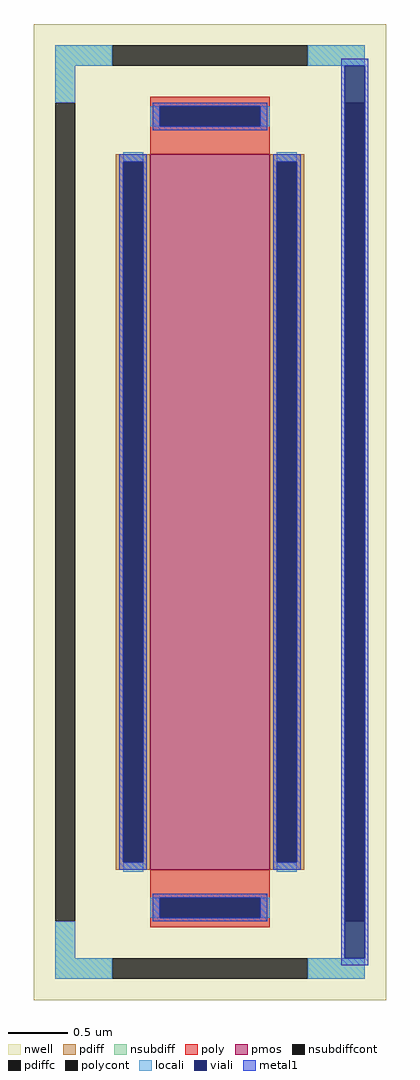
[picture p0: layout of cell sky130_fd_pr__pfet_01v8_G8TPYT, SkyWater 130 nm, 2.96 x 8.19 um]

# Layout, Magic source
magic
tech sky130A
magscale 1 2
<< nwell >>
rect -296 -819 296 819
<< pmos >>
rect -100 -600 100 600
<< pdiff >>
rect -158 588 -100 600
rect -158 -588 -146 588
rect -112 -588 -100 588
rect -158 -600 -100 -588
rect 100 588 158 600
rect 100 -588 112 588
rect 146 -588 158 588
rect 100 -600 158 -588
<< pdiffc >>
rect -146 -588 -112 588
rect 112 -588 146 588
<< nsubdiff >>
rect -260 749 -164 783
rect 164 749 260 783
rect -260 687 -226 749
rect 226 687 260 749
rect -260 -749 -226 -687
rect 226 -749 260 -687
rect -260 -783 -164 -749
rect 164 -783 260 -749
<< nsubdiffcont >>
rect -164 749 164 783
rect -260 -687 -226 687
rect 226 -687 260 687
rect -164 -783 164 -749
<< poly >>
rect -100 681 100 697
rect -100 647 -84 681
rect 84 647 100 681
rect -100 600 100 647
rect -100 -647 100 -600
rect -100 -681 -84 -647
rect 84 -681 100 -647
rect -100 -697 100 -681
<< polycont >>
rect -84 647 84 681
rect -84 -681 84 -647
<< locali >>
rect -260 749 -164 783
rect 164 749 260 783
rect -260 687 -226 749
rect -100 647 -84 681
rect 84 647 100 681
rect -146 588 -112 604
rect -146 -604 -112 -588
rect 112 588 146 604
rect 112 -604 146 -588
rect -100 -681 -84 -647
rect 84 -681 100 -647
rect -260 -749 -226 -687
rect -260 -783 -164 -749
rect 164 -783 260 -749
<< viali >>
rect 226 687 260 749
rect -84 647 84 681
rect -146 -588 -112 588
rect 112 -588 146 588
rect -84 -681 84 -647
rect 226 -687 260 687
rect 226 -749 260 -687
<< metal1 >>
rect 220 749 266 761
rect -96 681 96 687
rect -96 647 -84 681
rect 84 647 96 681
rect -96 641 96 647
rect -152 588 -106 600
rect -152 -588 -146 588
rect -112 -588 -106 588
rect -152 -600 -106 -588
rect 106 588 152 600
rect 106 -588 112 588
rect 146 -588 152 588
rect 106 -600 152 -588
rect -96 -647 96 -641
rect -96 -681 -84 -647
rect 84 -681 96 -647
rect -96 -687 96 -681
rect 220 -749 226 749
rect 260 -749 266 749
rect 220 -761 266 -749
<< properties >>
string FIXED_BBOX -243 -766 243 766
string gencell sky130_fd_pr__pfet_01v8
string library sky130
string parameters w 6.0 l 1.0 m 1 nf 1 diffcov 100 polycov 100 guard 1 glc 1 grc 1 gtc 1 gbc 1 tbcov 100 rlcov 100 topc 1 botc 1 poverlap 0 doverlap 1 lmin 0.15 wmin 0.42 compatible {sky130_fd_pr__pfet_01v8  sky130_fd_pr__pfet_01v8_lvt sky130_fd_pr__pfet_01v8_hvt  sky130_fd_pr__pfet_g5v0d10v5} full_metal 1 viasrc 100 viadrn 100 viagate 100 viagb 0 viagr 100 viagl 0 viagt 0
<< end >>
